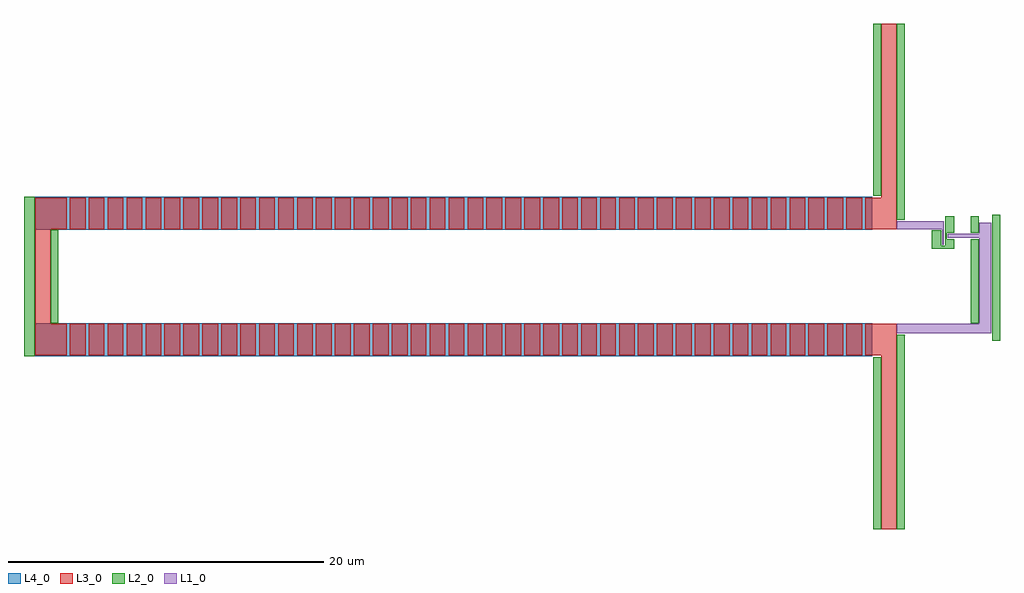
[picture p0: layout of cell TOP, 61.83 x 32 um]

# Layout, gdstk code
import gdstk
lib = gdstk.Library(unit=1e-6, precision=1e-09)
def R(c, l, rs):  # rectangles x0, y0, x1, y1
    for r in rs: c.add(gdstk.rectangle(r[:2], r[2:], *l))
def A(c, l, x, y, w, h, nx, ny, dx, dy):  # array of equal rectangles
    R(c, l, [(x+i*dx, y+j*dy, x+i*dx+w, y+j*dy+h) for i in range(nx) for j in range(ny)])
L1_0 = (1, 0)
L2_0 = (2, 0)
L3_0 = (3, 0)
L4_0 = (4, 0)

top = lib.new_cell('TOP')
R(top, L1_0, [(0.501,-3.6,6.481,-3), (5.73,-3,6.481,3.412), (3.384,2.009,3.484,3), (3.732,2.446,5.73,2.696), (0.501,3,3.484,3.5)])
R(top, L2_0, [(-1.005,-16,-0.501,-5.1), (0.501,-16,1.005,-3.7), (-54.798,-5.05,-54.112,5.049), (6.535,-4.086,7.035,3.912), (-53.119,-2.95,-52.613,2.95), (5.181,-2.95,5.681,2.371), (2.713,1.759,3.309,2.925), (3.309,1.759,3.559,1.934), (3.559,1.759,4.131,2.371), (3.559,2.371,3.657,2.771), (3.559,2.771,4.131,3.812), (5.181,2.771,5.681,3.812), (0.501,3.6,1.005,16), (-1.005,5.1,-0.501,16)])
A(top, L3_0, -51.899, -5, 0.998, 2, 43, 2, 1.2, 8)
R(top, L3_0, [(-0.501,-16,0.501,-3), (-54.101,-5,-52.101,-3), (-54.101,-3,-53.109,3), (-54.101,3,-52.101,5), (-0.501,3,0.501,16)])
R(top, L4_0, [(-54.101,-5.05,-1.069,-2.95), (-54.101,2.95,-1.069,5.05)])

lib.write_gds('TOP.gds')
